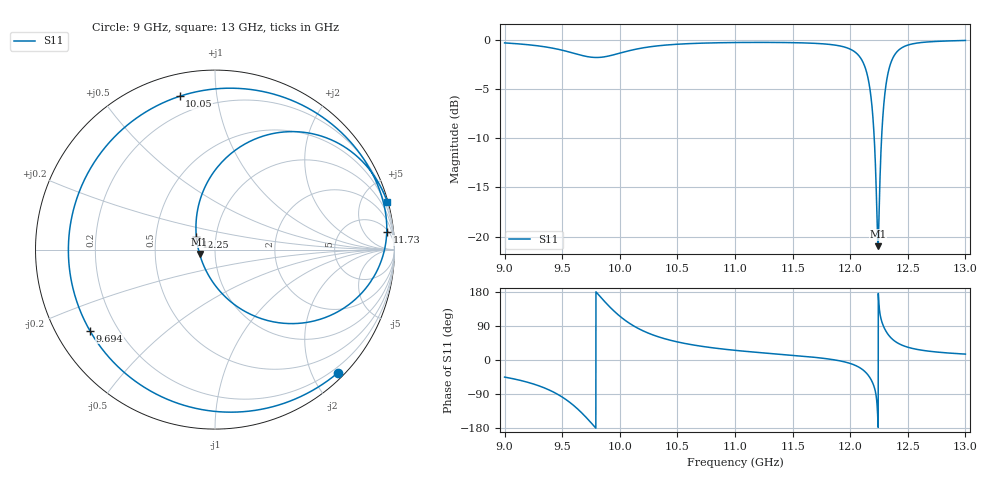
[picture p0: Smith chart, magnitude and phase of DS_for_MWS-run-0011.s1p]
! TOUCHSTONE file generated by CST DESIGN STUDIO
! Date and time: Tue Feb  4 16:15:32 2025
! Project name: C:\Work\MatlabApps\UnitCellOptimizationMatlab\CST\unitcell.cst
! Tree item: Tasks\Sweep1\SPara1\S-Parameters
! Header version: 2024
! Port assignment regex: !\s*Touchstone port\s*([0-9]+)\s*=\s*(CST MWS port|CST DES external port|CST DES block port)\s*(.+)\s* \(\"(.*)\"\)(\s*mode\s*([0-9]+))?.*
! Touchstone port assignment:
! Touchstone port 1 = CST DES external port 1 ("")
# GHz S MA R 50
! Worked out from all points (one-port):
!   4001 points, 9 GHz to 13 GHz, reference 50 ohm
!   lowest |S11| = -21.0 dB at 12.24 GHz (marker M1), VSWR 1.20, Z = 42.1 - j2.12 ohm
!   |S11| at or under -10 dB: 12.21 GHz to 12.27 GHz (63.44 MHz wide, 0.518 % of centre)
!   S11 on the Smith chart (normalised r, x): 9 GHz: 0.11, -2.40; 9.694 GHz: 0.10, -0.29; 10.05 GHz: 0.11, +0.79; 11.73 GHz: 6, +17; 12.25 GHz: 0.80, +0.12; 13 GHz: 0.07, +7.31
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9  0.9694 -45.1
9.276  0.9386 -65.9
9.5  0.8897 -97.8
9.601  0.8583 -120.4
9.694  0.8307 -147.1
9.766  0.8183 -170.9
9.833  0.8186 166.1
9.92  0.8355 137.9
10  0.8596 115.7
10.054  0.8765 103.0
10.26  0.9258 69.4
10.5  0.9544 47.7
11  0.9737 25.5
11.5  0.9722 12.4
11.728  0.962 5.9
12  0.9009 -9.1
12.095  0.8041 -22.6
12.162  0.6099 -42.5
12.202  0.3692 -65.6
12.228  0.157 -100.8
12.241  0.08929 -163.8
12.25  0.1268 145.1
12.287  0.4364 90.5
12.333  0.6991 65.8
12.405  0.8722 46.1
12.5  0.9446 33.7
12.675  0.9805 23.6
13  0.9976 15.6
